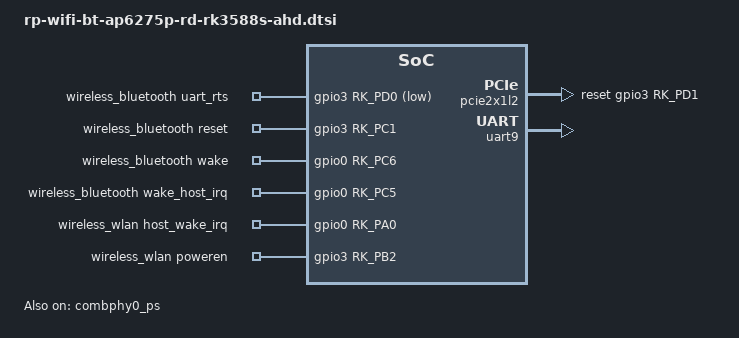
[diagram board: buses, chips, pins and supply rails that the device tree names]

/ {
	wireless_bluetooth: wireless-bluetooth {
		compatible = "bluetooth-platdata";
		clocks = <&hym8563>;
		clock-names = "ext_clock";
		uart_rts_gpios = <&gpio3 RK_PD0 GPIO_ACTIVE_LOW>;
		pinctrl-names = "default", "rts_gpio";
		pinctrl-0 = <&uart9m2_rtsn>, <&bt_gpio>;
		pinctrl-1 = <&uart9_gpios>;
		BT,reset_gpio    = <&gpio3 RK_PC1 GPIO_ACTIVE_HIGH>;
		BT,wake_gpio     = <&gpio0 RK_PC6 GPIO_ACTIVE_HIGH>;
		BT,wake_host_irq = <&gpio0 RK_PC5 GPIO_ACTIVE_HIGH>;
		status = "okay";
	};

	wireless_wlan: wireless-wlan {
		compatible = "wlan-platdata";
		wifi_chip_type = "ap6275p";
		pinctrl-names = "default";
		pinctrl-0 = <&wifi_host_wake_irq>, <&wifi_poweren_gpio>;
		WIFI,host_wake_irq = <&gpio0 RK_PA0 GPIO_ACTIVE_HIGH>;
		WIFI,poweren_gpio = <&gpio3 RK_PB2 GPIO_ACTIVE_HIGH>;
		status = "okay";
	};
};

&combphy0_ps {
	status = "okay";
};

&pcie2x1l2 {
	reset-gpios = <&gpio3 RK_PD1 GPIO_ACTIVE_HIGH>;
	status = "okay";
};

&uart9 {
	status = "okay";
        pinctrl-names = "default";
        pinctrl-0 = <&uart9m2_xfer &uart9m2_ctsn>;
};


&pinctrl {
        wireless-bluetooth {
                uart9_gpios: uart9-gpios {
                        rockchip,pins = <3 RK_PD0 RK_FUNC_GPIO &pcfg_pull_none>;
                };
                bt_gpio: bt-gpio {
                        rockchip,pins =
                                <3 RK_PC1 RK_FUNC_GPIO &pcfg_pull_none>,
                                <0 RK_PC5 RK_FUNC_GPIO &pcfg_pull_up>,
                                <0 RK_PC6 RK_FUNC_GPIO &pcfg_pull_down>;
                };
        };

        wireless-wlan {
                wifi_host_wake_irq: wifi-host-wake-irq {
                        rockchip,pins = <0 RK_PA0 RK_FUNC_GPIO &pcfg_pull_down>;
                };

                wifi_poweren_gpio: wifi-poweren-gpio {
                        rockchip,pins = <3 RK_PB2 RK_FUNC_GPIO &pcfg_pull_up>;
                };
        };
};
